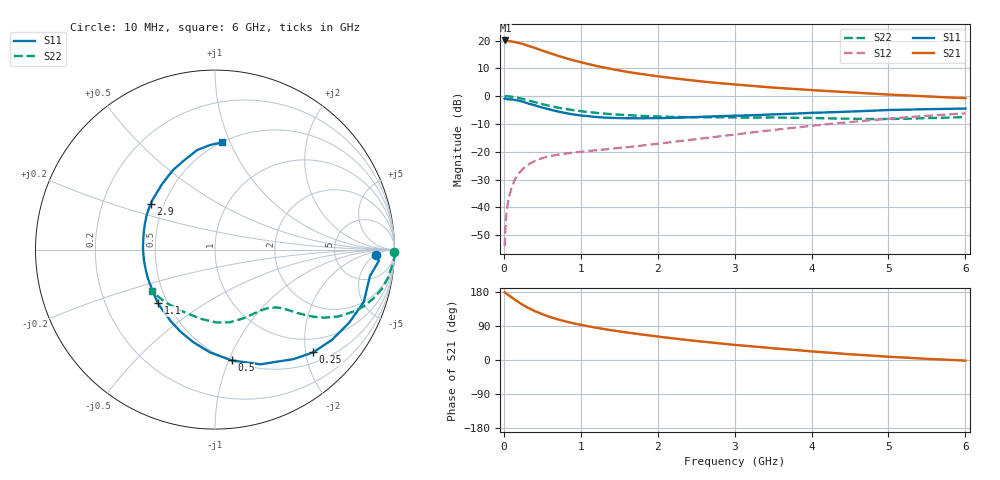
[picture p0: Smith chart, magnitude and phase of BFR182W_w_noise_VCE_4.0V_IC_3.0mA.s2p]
! (c) 2017  Infineon Technologies AG, Munich
! Infineon Technologies  Discrete & RF Semiconductors
! BFR182W
! VCE =  4.0 V,  IC =  3.0 mA
! Common Emitter S-Parameters:  Jan 2017
# GHz  S  MA  R  50
!  f  S11  S21  S12  S22
! GHz  MAG  ANG  MAG  ANG  MAG  ANG  MAG  ANG
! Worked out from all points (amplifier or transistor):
!   77 points, 10 MHz to 6 GHz, reference 50 ohm
!   highest |S21| = 20.0 dB at 20 MHz (marker M1)
!   |S21| within 3 dB of that: start of sweep to 434.5 MHz
!   unconditionally stable (mu >= 1): 1.586 GHz to 3.04 GHz
!   at 130 MHz: K = 0.11, MSG = 25.2 dB, |S12| = -30.9 dB
!   at 2.2 GHz: K = 1.07, MAG = 9.8 dB, |S12| = -16.5 dB
!   at 6 GHz: K = 0.83, MSG = 2.7 dB, |S12| = -6.2 dB
!   lowest NFmin = 0.82 dB at 450 MHz
!   S11 on the Smith chart (normalised r, x): 10 MHz: 16, -6; 250 MHz: 0.70, -2.15; 500 MHz: 0.51, -1.02; 1.1 GHz: 0.44, -0.33; 2.9 GHz: 0.42, +0.27; 6 GHz: 0.50, +0.93
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0.01  0.8967 -2.1  9.86 178.6  0.002 90.0  1 -0.9
0.02  0.9147 -4.0  10.04 177.3  0.0041 91.0  1 -2.0
0.06  0.8745 -11.6  9.783 171.4  0.0136 82.8  0.9889 -5.6
0.1  0.8786 -19.4  9.633 165.5  0.0223 80.2  0.9771 -9.2
0.15  0.8512 -28.6  9.354 158.3  0.0327 74.6  0.9526 -13.6
0.2  0.8233 -37.6  9.005 151.5  0.0414 70.8  0.922 -17.3
0.25  0.7917 -46.3  8.65 145.0  0.0497 65.7  0.8883 -20.8
0.3  0.7512 -54.3  8.205 139.3  0.0566 62.1  0.8501 -23.8
0.4  0.6875 -68.4  7.393 129.2  0.068 56.6  0.7811 -28.5
0.5  0.624 -81.5  6.6 120.8  0.0767 52.5  0.7179 -31.9
0.6  0.5728 -92.9  5.932 113.6  0.0837 49.7  0.666 -34.2
0.7  0.5293 -103.3  5.337 107.4  0.0881 47.8  0.623 -35.9
0.8  0.4968 -112.6  4.855 101.9  0.0925 46.9  0.5879 -37.2
0.9  0.4695 -121.5  4.425 97.1  0.0963 46.0  0.5596 -38.3
1.1  0.4363 -136.8  3.772 88.9  0.1033 46.6  0.5171 -40.1
1.5  0.4031 -161.8  2.901 75.5  0.1173 49.1  0.4642 -44.0
2.1  0.4044 170.4  2.187 59.5  0.1445 54.1  0.4266 -52.3
2.9  0.4397 144.3  1.667 42.0  0.196 57.6  0.4141 -66.9
3.1  0.4481 138.8  1.581 38.2  0.2118 57.5  0.4128 -70.6
4.1  0.505 116.1  1.261 21.3  0.3017 54.0  0.402 -91.4
5.1  0.5664 98.8  1.051 7.5  0.4025 45.5  0.3892 -120.5
6  0.5987 86.3  0.919 -1.6  0.4905 35.7  0.4226 -146.6
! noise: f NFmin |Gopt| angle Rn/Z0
0.45  0.82  0.39  31  0.2
0.9  0.95  0.3  57  0.2
1.9  1.6  0.25  149  0.12
2.4  1.92  0.23  170  0.17
